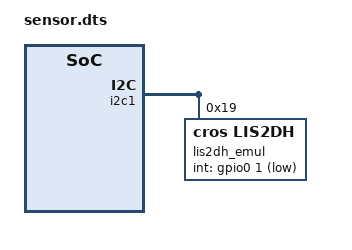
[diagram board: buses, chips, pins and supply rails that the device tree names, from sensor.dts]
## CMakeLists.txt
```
# Copyright 2026 The ChromiumOS Authors
# Use of this source code is governed by a BSD-style license that can be
# found in the LICENSE file.

# Add source files
target_sources(app PRIVATE src/test_common.c src/test_interrupt.c)
```

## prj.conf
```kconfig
# Copyright 2026 The ChromiumOS Authors
# Use of this source code is governed by a BSD-style license that can be
# found in the LICENSE file.

CONFIG_PLATFORM_EC_ACCEL_LIS2DE=y

CONFIG_LOG=y
CONFIG_LOG_MODE_MINIMAL=n
CONFIG_POSIX_ARCH_CONSOLE_INIT_PRIORITY=98
CONFIG_PLATFORM_EC_CONSOLE_INIT_PRIORITY=99
CONFIG_PLATFORM_EC_CONSOLE_DEBUG=y
CONFIG_SENSOR_LOG_LEVEL_DBG=y
```

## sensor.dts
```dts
/* Copyright 2026 The ChromiumOS Authors
 * Use of this source code is governed by a BSD-style license that can be
 * found in the LICENSE file.
 */

#include "dt-bindings/gpio_defines.h"
#include <dt-bindings/motionsense/utils.h>

/ {
	aliases {
		lis2dh-int = &ms_lis2dh_accel;
		/delete-property/ bmi160-int;
		/delete-property/ bmi260-int;
		/delete-property/ tcs3400-int;
	};

	motionsense-mutex {
		mutex_lis2dh: lis2dh-mutex {
		};
	};

	motionsense-sensor-data {
		lis2dh_data_accel: lis2dh-accel-drv-data {
			compatible = "cros-ec,drvdata-lis2de";
			status = "okay";
		};
	};

	motionsense-sensor {

		lid_accel: ms-bma4xx {};

		base_accel: ms_lis2dh_accel: ms-lis2dh-accel {
			compatible = "cros-ec,lis2de";
			status = "okay";

			active-mask = "SENSOR_ACTIVE_S0";
			location = "MOTIONSENSE_LOC_BASE";
			mutex = <&mutex_lis2dh>;
			port = <&named_i2c1>;
			drv-data = <&lis2dh_data_accel>;
			configs {
				compatible =
					"cros-ec,motionsense-sensor-config";
				ec-s0 {
					odr = <(10000 | ROUND_UP_FLAG)>;
				};
			};
		};
	};

	motionsense-sensor-info {
		accel-force-mode-sensors = <&ms_bma4xx>;
		sensor-irqs = <&base_imu>;
	};

	gpio-interrupts {
		compatible = "cros-ec,gpio-interrupts";

		base_imu: base-imu {
			irq-pin = <&gpio_base_accel_int_l>;
			flags = <GPIO_INT_EDGE_FALLING>;
			handler = "lis2dh_interrupt";
		};
	};
	named-gpios {
		compatible = "named-gpios";
		gpio_base_accel_int_l: accel_base_int_l {
			gpios = <&gpio0 1 (GPIO_INPUT | GPIO_ACTIVE_LOW)>;
		};
	};
};

&i2c1 {
	lis2dh_emul: lis2dh@19 {
		compatible = "cros,lis2dh";
		status = "okay";
		reg = <0x19>;
		int-gpios = <&gpio0 1 GPIO_ACTIVE_LOW>;
	};
};

/delete-node/ &ms_bma255;
/delete-node/ &ms_bmi260_accel;
/delete-node/ &ms_bmi260_gyro;
/delete-node/ &ms_bmi160_accel;
/delete-node/ &ms_bmi160_gyro;
/delete-node/ &tcs3400_clear;
/delete-node/ &tcs3400_rgb;
/delete-node/ &accel_bmi160;
/delete-node/ &bma422_emul;
/delete-node/ &mspi0;
```

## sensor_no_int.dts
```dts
/* Copyright 2026 The ChromiumOS Authors
 * Use of this source code is governed by a BSD-style license that can be
 * found in the LICENSE file.
 */

#include "dt-bindings/gpio_defines.h"
#include <dt-bindings/motionsense/utils.h>

/ {
	aliases {
		/delete-property/ bmi160-int;
		/delete-property/ bmi260-int;
		/delete-property/ tcs3400-int;
	};

	motionsense-mutex {
		mutex_lis2dh: lis2dh-mutex {
		};
	};

	motionsense-sensor-data {
		lis2dh_data_accel: lis2dh-accel-drv-data {
			compatible = "cros-ec,drvdata-lis2de";
			status = "okay";
		};
	};

	motionsense-sensor {

		lid_accel: ms-bma4xx {};

		base_accel: ms_lis2dh_accel: ms-lis2dh-accel {
			compatible = "cros-ec,lis2de";
			status = "okay";

			active-mask = "SENSOR_ACTIVE_S0";
			location = "MOTIONSENSE_LOC_BASE";
			mutex = <&mutex_lis2dh>;
			port = <&named_i2c1>;
			drv-data = <&lis2dh_data_accel>;
			configs {
				compatible =
					"cros-ec,motionsense-sensor-config";
				ec-s0 {
					odr = <(10000 | ROUND_UP_FLAG)>;
				};
			};
		};
	};

	motionsense-sensor-info {
		accel-force-mode-sensors = <&ms_bma4xx>;
	};
	named-gpios {
		compatible = "named-gpios";
		gpio_base_accel_int_l: accel_base_int_l {
			gpios = <&gpio0 1 (GPIO_INPUT | GPIO_ACTIVE_LOW)>;
		};
	};
};

&i2c1 {
	lis2dh_emul: lis2dh@19 {
		compatible = "cros,lis2dh";
		status = "okay";
		reg = <0x19>;
		int-gpios = <&gpio0 1 GPIO_ACTIVE_LOW>;
	};
};

/delete-node/ &ms_bma255;
/delete-node/ &ms_bmi260_accel;
/delete-node/ &ms_bmi260_gyro;
/delete-node/ &ms_bmi160_accel;
/delete-node/ &ms_bmi160_gyro;
/delete-node/ &tcs3400_clear;
/delete-node/ &tcs3400_rgb;
/delete-node/ &accel_bmi160;
/delete-node/ &bma422_emul;
/delete-node/ &mspi0;
```

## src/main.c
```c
/* Copyright 2026 The ChromiumOS Authors
 * Use of this source code is governed by a BSD-style license that can be
 * found in the LICENSE file.
 */

#include "driver/accel_lis2dh.h"
#include "emul/emul_common_i2c.h"
#include "emul/emul_lis2dh.h"
#include "motion_sense.h"
#include "motion_sense_fifo.h"
#include "test/drivers/test_state.h"

#include <zephyr/drivers/gpio.h>
#include <zephyr/ztest.h>

#define LIS2DH_NODE DT_NODELABEL(lis2dh_emul)
#define ACC_SENSOR_ID SENSOR_ID(DT_NODELABEL(ms_lis2dh_accel))

static const struct emul *emul = EMUL_DT_GET(LIS2DH_NODE);
static struct motion_sensor_t *acc = &motion_sensors[ACC_SENSOR_ID];

static void lis2dh_before(void *state)
{
	ARG_UNUSED(state);
	lis2dh_emul_reset(emul);
}

ZTEST_USER(lis2dh, test_lis2dh__samples_fifo_read)
{
	struct stprivate_data *drvdata = acc->drv_data;
	int16_t fake_sample[] = { 10, 20, 30, 40, 50, 60 };
	uint32_t evt = ACCEL_LIS2DH_INT_EVENT;
	static struct ec_response_motion_sensor_data
		fifo_data[ARRAY_SIZE(fake_sample) / 3 * 2];
	int count;
	uint16_t read_byte_count;
	int i;

	/* Basic initialization works. */
	zassert_ok(lis2dh_drv.init(acc));

	/* Clear out the soft motionsense FIFO */
	motion_sense_fifo_reset();

	/* Set data rate to 10Hz, without this the FIFO will never be enabled */
	acc->config[SENSOR_CONFIG_AP].odr = 10000;
	acc->drv->set_data_rate(acc, 10000, 1);
	acc->oversampling_ratio = 1;

	/* Verify fifo mode is enabled */
	zassert_true(lis2dh_emul_is_fifo_enabled(emul));

	/* Reading requires a range to be set. Use 1 so it has no effect
	 * when scaling samples. Also need to set the sensor resolution
	 * manually.
	 */
	lis2dh_drv.set_range(acc, 1, 0);
	drvdata->resol = LIS2DH_RESOLUTION;

	/*
	 * Samples from the lis2dh are left aligned so shift left by requiired
	 * amount.
	 */
	for (i = 0; i < ARRAY_SIZE(fake_sample); i++) {
		fake_sample[i] <<= (15 - LIS2DH_RESOLUTION);
	}
	/* Add data to the lis2dh emulated fifo */
	lis2dh_emul_set_fifo_data(emul, fake_sample, sizeof(fake_sample));

	/* Run interrupt handler */
	zassert_ok(lis2dh_drv.irq_handler(acc, &evt));

	/* Read data has been queue up in the motion_sense fifo */
	count = motion_sense_fifo_read(sizeof(fifo_data),
				       ARRAY_SIZE(fake_sample) / 3 * 2,
				       fifo_data, &read_byte_count);

	/*
	 * Each accel sample is paired with a timestamp entry so there should be
	 * 2 entries for each 3 samples in the fake_sample array.
	 */
	zassert_equal(count, ARRAY_SIZE(fake_sample) / 3 * 2);

	/*
	 * Validate each set of sensor XYZ samples.
	 * fifo_data[0] -> timestamp, fifo_data[1] -> sensor XYZ sample
	 * fifo_data[2] -> timestamp, fifo_data[3] -> sensor XYZ sample
	 */
	for (i = 0; i < ARRAY_SIZE(fake_sample) / 3; i++) {
		zassert_equal(fifo_data[i * 2].flags,
			      MOTIONSENSE_SENSOR_FLAG_TIMESTAMP);
		zassert_equal(fifo_data[i * 2].sensor_num, ACC_SENSOR_ID);
		zassert_equal(fifo_data[i * 2 + 1].data[X], fake_sample[i * 3]);
		zassert_equal(fifo_data[i * 2 + 1].data[Y],
			      fake_sample[i * 3 + 1]);
		zassert_equal(fifo_data[i * 2 + 1].data[Z],
			      fake_sample[i * 3 + 2]);
	}
}

ZTEST_USER(lis2dh, test_lis2dh__samples_fifo_read_long)
{
	struct stprivate_data *drvdata = acc->drv_data;
	int16_t fake_sample[(FIFO_READ_LEN / OUT_XYZ_SIZE) * 3 + 6];
	uint32_t evt = ACCEL_LIS2DH_INT_EVENT;
	static struct ec_response_motion_sensor_data
		fifo_data[ARRAY_SIZE(fake_sample) / 3 * 2];
	int count;
	uint16_t read_byte_count;
	int i;

	/* Basic initialization works. */
	zassert_ok(lis2dh_drv.init(acc));

	/* Clear out the soft motionsense FIFO */
	motion_sense_fifo_reset();

	/* Set data rate to 10Hz, without this the FIFO will never be enabled */
	acc->config[SENSOR_CONFIG_AP].odr = 10000;
	acc->drv->set_data_rate(acc, 10000, 1);
	acc->oversampling_ratio = 1;

	/* Verify fifo mode is enabled */
	zassert_true(lis2dh_emul_is_fifo_enabled(emul));

	/* Reading requires a range to be set. Use 1 so it has no effect
	 * when scaling samples. Also need to set the sensor resolution
	 * manually.
	 */
	lis2dh_drv.set_range(acc, 1, 0);
	drvdata->resol = LIS2DH_RESOLUTION;

	/*
	 * Create samples of 2, 4, 6, ... 8, 10, 12, ... 14, 16, 18 for 10 XYZ
	 * sample triplets. This will exceed FIFO_READ_LEN;
	 */
	for (i = 0; i < ARRAY_SIZE(fake_sample); i++) {
		fake_sample[i] = ((i + 1) * 2) << (15 - LIS2DH_RESOLUTION);
	}

	/* Add data to the lis2dh emulated fifo */
	lis2dh_emul_set_fifo_data(emul, fake_sample,
				  (uint8_t)(sizeof(fake_sample)));

	/* Run interrupt handler */
	zassert_ok(lis2dh_drv.irq_handler(acc, &evt));

	/* Read data has been queue up in the motion_sense fifo */
	count = motion_sense_fifo_read(sizeof(fifo_data),
				       ARRAY_SIZE(fake_sample) / 3 * 2,
				       fifo_data, &read_byte_count);

	/*
	 * Each accel sample is paired with a timestamp entry so there should be
	 * 2 entries for each 3 samples in the fake_sample array.
	 */
	zassert_equal(count, ARRAY_SIZE(fake_sample) / 3 * 2);

	/*
	 * Validate each set of sensor XYZ samples.
	 * fifo_data[0] -> timestamp, fifo_data[1] -> sensor XYZ sample
	 * fifo_data[2] -> timestamp, fifo_data[3] -> sensor XYZ sample
	 */
	for (i = 0; i < ARRAY_SIZE(fake_sample) / 3; i++) {
		zassert_equal(fifo_data[i * 2].flags,
			      MOTIONSENSE_SENSOR_FLAG_TIMESTAMP);
		zassert_equal(fifo_data[i * 2].sensor_num, ACC_SENSOR_ID);
		zassert_equal(fifo_data[i * 2 + 1].data[X], fake_sample[i * 3]);
		zassert_equal(fifo_data[i * 2 + 1].data[Y],
			      fake_sample[i * 3 + 1]);
		zassert_equal(fifo_data[i * 2 + 1].data[Z],
			      fake_sample[i * 3 + 2]);
	}
}

ZTEST_USER(lis2dh, test_lis2dh__samples_fifo_read_fail)
{
	struct stprivate_data *drvdata = acc->drv_data;
	int16_t fake_sample[] = { 10, 20, 30, 40, 50, 60 };
	uint32_t evt = ACCEL_LIS2DH_INT_EVENT;
	struct i2c_common_emul_data *common_data =
		emul_lis2dh_get_i2c_common_data(emul);
	int i;
	int rv;

	/* Basic initialization works. */
	zassert_ok(lis2dh_drv.init(acc));

	/* Clear out the soft motionsense FIFO */
	motion_sense_fifo_reset();

	/* Set data rate to 10Hz, without this the FIFO will never be enabled */
	acc->config[SENSOR_CONFIG_AP].odr = 10000;
	acc->drv->set_data_rate(acc, 10000, 1);
	acc->oversampling_ratio = 1;

	/* Verify fifo mode is enabled */
	zassert_true(lis2dh_emul_is_fifo_enabled(emul));

	/* Reading requires a range to be set. Use 1 so it has no effect
	 * when scaling samples. Also need to set the sensor resolution
	 * manually.
	 */
	lis2dh_drv.set_range(acc, 1, 0);
	drvdata->resol = LIS2DH_RESOLUTION;

	/*
	 * Samples from the lis2dh are left aligned so shift left by requiired
	 * amount.
	 */
	for (i = 0; i < ARRAY_SIZE(fake_sample); i++) {
		fake_sample[i] <<= (15 - LIS2DH_RESOLUTION);
	}
	/* Add data to the lis2dh emulated fifo */
	lis2dh_emul_set_fifo_data(emul, fake_sample, sizeof(fake_sample));

	/* Set incorrect interrupt event */
	evt = 0;
	/* Run interrupt handler */
	rv = lis2dh_drv.irq_handler(acc, &evt);
	zassert_equal(rv, EC_ERROR_NOT_HANDLED);

	/* Set FIFO_SRC_REG read to fail */
	i2c_common_emul_set_read_fail_reg(common_data, LIS2DH_FIFO_SRC_ADDR);
	evt = ACCEL_LIS2DH_INT_EVENT;
	rv = lis2dh_drv.irq_handler(acc, &evt);
	zassert_equal(EC_ERROR_INVAL, rv);
	i2c_common_emul_set_read_fail_reg(common_data,
					  I2C_COMMON_EMUL_NO_FAIL_REG);

	/* Set LIS2DH_OUT_X_L_ADDR read to fail */
	i2c_common_emul_set_read_fail_reg(common_data,
					  0x80 | LIS2DH_OUT_X_L_ADDR);
	rv = lis2dh_drv.irq_handler(acc, &evt);
	zassert_equal(EC_ERROR_INVAL, rv);
}

ZTEST_USER(lis2dh, test_lis2dh__samples_fifo_read_spoof)
{
	struct stprivate_data *drvdata = acc->drv_data;
	int16_t fake_sample[] = { 10, 20, 30 };
	uint32_t evt = ACCEL_LIS2DH_INT_EVENT;
	static struct ec_response_motion_sensor_data
		fifo_data[ARRAY_SIZE(fake_sample) / 3 * 2];
	int count;
	uint16_t read_byte_count;
	int i;

	/* Basic initialization works. */
	zassert_ok(lis2dh_drv.init(acc));

	/* Clear out the soft motionsense FIFO */
	motion_sense_fifo_reset();

	/* Set data rate to 10Hz, without this the FIFO will never be enabled */
	acc->config[SENSOR_CONFIG_AP].odr = 10000;
	acc->drv->set_data_rate(acc, 10000, 1);
	acc->oversampling_ratio = 1;

	/* Verify fifo mode is enabled */
	zassert_true(lis2dh_emul_is_fifo_enabled(emul));

	/* Reading requires a range to be set. Use 1 so it has no effect
	 * when scaling samples. Also need to set the sensor resolution
	 * manually.
	 */
	lis2dh_drv.set_range(acc, 1, 0);
	drvdata->resol = LIS2DH_RESOLUTION;

	/* Enable spoof fifo spoof mode */
	acc->flags |= MOTIONSENSE_FLAG_IN_SPOOF_MODE;

	/* Set values to be spoofed */
	acc->spoof_xyz[X] = 50 << (15 - LIS2DH_RESOLUTION);
	acc->spoof_xyz[Y] = 60 << (15 - LIS2DH_RESOLUTION);
	acc->spoof_xyz[Z] = 70 << (15 - LIS2DH_RESOLUTION);

	/*
	 * Samples from the lis2dh are left aligned so shift left by requiired
	 * amount.
	 */
	for (i = 0; i < ARRAY_SIZE(fake_sample); i++) {
		fake_sample[i] <<= (15 - LIS2DH_RESOLUTION);
	}
	/* Add data to the lis2dh emulated fifo */
	lis2dh_emul_set_fifo_data(emul, fake_sample, sizeof(fake_sample));

	/* Run interrupt handler */
	zassert_ok(lis2dh_drv.irq_handler(acc, &evt));

	/* Clear fifo spoof mode flag */
	acc->flags &= ~MOTIONSENSE_FLAG_IN_SPOOF_MODE;

	/* Read data has been queue up in the motion_sense fifo */
	count = motion_sense_fifo_read(sizeof(fifo_data),
				       ARRAY_SIZE(fake_sample) / 3 * 2,
				       fifo_data, &read_byte_count);

	/*
	 * Each accel sample is paired with a timestamp entry so there should be
	 * 2 entries for each 3 samples in the fake_sample array.
	 */
	zassert_equal(count, ARRAY_SIZE(fake_sample) / 3 * 2);

	/* Data from fifo should match spoof values */
	zassert_equal(fifo_data[1].data[X], acc->spoof_xyz[X]);
	zassert_equal(fifo_data[1].data[Y], acc->spoof_xyz[Y]);
	zassert_equal(fifo_data[1].data[Z], acc->spoof_xyz[Z]);
}

ZTEST_USER(lis2dh, test_lis2dh__trigger_interrupt)
{
	struct stprivate_data *drvdata = acc->drv_data;
	int16_t fake_sample[] = { 10, 20, 30, 40, 50, 60 };
	int i;

	/* Basic initialization works. */
	zassert_ok(lis2dh_drv.init(acc));

	/* Clear out the soft motionsense FIFO */
	motion_sense_fifo_reset();

	/* Set data rate to 10Hz, without this the FIFO will never be enabled */
	acc->config[SENSOR_CONFIG_AP].odr = 10000;
	acc->drv->set_data_rate(acc, 10000, 1);
	acc->oversampling_ratio = 1;

	/* Verify fifo mode is enabled */
	zassert_true(lis2dh_emul_is_fifo_enabled(emul));

	/* Reading requires a range to be set. Use 1 so it has no effect
	 * when scaling samples. Also need to set the sensor resolution
	 * manually.
	 */
	lis2dh_drv.set_range(acc, 1, 0);
	drvdata->resol = LIS2DH_RESOLUTION;

	/* Interrupt should be inactive */
	zassert_equal(lis2dh_emul_get_interrupt_pin(emul), 0);

	/*
	 * Samples from the lis2dh are left aligned so shift left by requiired
	 * amount.
	 */
	for (i = 0; i < ARRAY_SIZE(fake_sample); i++) {
		fake_sample[i] <<= (15 - LIS2DH_RESOLUTION);
	}
	/* Add data to the lis2dh emulated fifo */
	lis2dh_emul_set_fifo_data(emul, fake_sample, sizeof(fake_sample));

	/* lis2dh fifo data should exceed watermark */
	zassert_equal(lis2dh_emul_get_interrupt_pin(emul), 1);
}

ZTEST_USER(lis2dh, test_init)
{
	zassert_ok(lis2dh_drv.init(acc));
}

ZTEST(lis2dh, test_lis2dh_init__fail_read_who_am_i)
{
	struct i2c_common_emul_data *common_data =
		emul_lis2dh_get_i2c_common_data(emul);
	int rv;

	i2c_common_emul_set_read_fail_reg(common_data, LIS2DH_WHO_AM_I_REG);
	rv = lis2dh_drv.init(acc);
	zassert_equal(EC_ERROR_INVAL, rv);
}

ZTEST(lis2dh, test_lis2dh_init__fail_interrupt_config)
{
	struct i2c_common_emul_data *common_data =
		emul_lis2dh_get_i2c_common_data(emul);
	int rv;

	i2c_common_emul_set_write_fail_reg(common_data, LIS2DH_FIFO_CTRL_ADDR);
	rv = lis2dh_drv.init(acc);
	zassert_equal(EC_ERROR_INVAL, rv);
}

ZTEST(lis2dh, test_lis2dh_init__fail_who_am_i)
{
	int rv;

	lis2dh_emul_set_who_am_i(emul, ~LIS2DH_WHO_AM_I);

	rv = lis2dh_drv.init(acc);
	zassert_equal(EC_ERROR_ACCESS_DENIED, rv,
		      "init returned %d but was expecting %d", rv,
		      EC_ERROR_ACCESS_DENIED);
}

ZTEST(lis2dh, test_lis2dh__set_range)
{
	struct i2c_common_emul_data *common_data =
		emul_lis2dh_get_i2c_common_data(emul);
	int rv;

	zassert_ok(lis2dh_drv.init(acc));
	zassert_ok(lis2dh_drv.set_range(acc, 4, 0));
	printk("set_range: normalized range = %d\n", acc->current_range);
	zassert_equal(acc->current_range, 4);

	/* Configure LIS2DH_FIFO_CTRL_ADDR write to fail */
	i2c_common_emul_set_write_fail_reg(common_data, LIS2DH_FIFO_CTRL_ADDR);
	rv = lis2dh_drv.set_range(acc, 2, 0);
	zassert_equal(rv, EC_ERROR_INVAL);
	zassert_equal(acc->current_range, 4);

	/* Configure LIS2DH_CTRL4_ADDR write to fail */
	i2c_common_emul_set_write_fail_reg(common_data,
					   I2C_COMMON_EMUL_NO_FAIL_REG);
	i2c_common_emul_set_write_fail_reg(common_data, LIS2DH_CTRL4_ADDR);
	rv = lis2dh_drv.set_range(acc, 2, 0);
	zassert_equal(rv, EC_ERROR_INVAL);
	zassert_equal(acc->current_range, 4);

	i2c_common_emul_set_write_fail_reg(common_data,
					   I2C_COMMON_EMUL_NO_FAIL_REG);
	zassert_ok(lis2dh_drv.set_range(acc, 2, 0));
	zassert_equal(acc->current_range, 2);
}

ZTEST_SUITE(lis2dh, drivers_predicate_post_main, NULL, lis2dh_before, NULL,
	    NULL);
```

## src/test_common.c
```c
/* Copyright 2026 The ChromiumOS Authors
 * Use of this source code is governed by a BSD-style license that can be
 * found in the LICENSE file.
 */

#include "driver/accel_lis2dh.h"
#include "emul/emul_common_i2c.h"
#include "emul/emul_lis2dh.h"
#include "motion_sense.h"
#include "motion_sense_fifo.h"
#include "test/drivers/test_state.h"

#include <limits.h>

#include <zephyr/drivers/gpio.h>
#include <zephyr/ztest.h>

#define LIS2DH_NODE DT_NODELABEL(lis2dh_emul)
#define ACC_SENSOR_ID SENSOR_ID(DT_NODELABEL(ms_lis2dh_accel))

static const struct emul *emul = EMUL_DT_GET(LIS2DH_NODE);
static struct motion_sensor_t *acc = &motion_sensors[ACC_SENSOR_ID];

static void lis2dh_before(void *state)
{
	ARG_UNUSED(state);
	lis2dh_emul_reset(emul);
	acc->collection_rate = 0;
	acc->flags &= ~MOTIONSENSE_FLAG_IN_SPOOF_MODE;
}

ZTEST_USER(lis2dh, test_init)
{
	struct stprivate_data *drvdata = acc->drv_data;

	zassert_ok(lis2dh_drv.init(acc));
	zassert_equal(drvdata->resol, 12,
		      "expected 12-bit resolution for LIS2DH");
}

static int emul_read_ctrl4_lis2de(const struct emul *target, int reg,
				  uint8_t *val, int bytes, void *data)
{
	ARG_UNUSED(target);
	ARG_UNUSED(bytes);
	ARG_UNUSED(data);

	if (reg == LIS2DH_CTRL4_ADDR) {
		*val = LIS2DH_BDU_MASK; /* HR bit (0x08) not supported */
		return 0;
	}
	return 1;
}

ZTEST(lis2dh, test_init_lis2de_8bit)
{
	struct i2c_common_emul_data *common_data =
		emul_lis2dh_get_i2c_common_data(emul);
	struct stprivate_data *drvdata = acc->drv_data;

	i2c_common_emul_set_read_func(common_data, emul_read_ctrl4_lis2de,
				      NULL);
	zassert_ok(lis2dh_drv.init(acc));
	zassert_equal(drvdata->resol, 8,
		      "expected 8-bit resolution for LIS2DE");
}

ZTEST(lis2dh, test_lis2dh_init__fail_read_who_am_i)
{
	struct i2c_common_emul_data *common_data =
		emul_lis2dh_get_i2c_common_data(emul);
	int rv;

	i2c_common_emul_set_read_fail_reg(common_data, LIS2DH_WHO_AM_I_REG);
	rv = lis2dh_drv.init(acc);
	zassert_equal(EC_ERROR_INVAL, rv);
}

ZTEST(lis2dh, test_lis2dh_init__fail_who_am_i)
{
	int rv;

	lis2dh_emul_set_who_am_i(emul, ~LIS2DH_WHO_AM_I);

	rv = lis2dh_drv.init(acc);
	zassert_equal(EC_ERROR_ACCESS_DENIED, rv,
		      "init returned %d but was expecting %d", rv,
		      EC_ERROR_ACCESS_DENIED);
}

ZTEST(lis2dh, test_lis2dh__set_range)
{
	struct i2c_common_emul_data *common_data =
		emul_lis2dh_get_i2c_common_data(emul);
	int rv;

	zassert_ok(lis2dh_drv.init(acc));
	zassert_ok(lis2dh_drv.set_range(acc, 4, 0));
	printk("set_range: normalized range = %d\n", acc->current_range);
	zassert_equal(acc->current_range, 4);

	/* Configure LIS2DH_CTRL4_ADDR write to fail */
	i2c_common_emul_set_write_fail_reg(common_data,
					   I2C_COMMON_EMUL_NO_FAIL_REG);
	i2c_common_emul_set_write_fail_reg(common_data, LIS2DH_CTRL4_ADDR);
	rv = lis2dh_drv.set_range(acc, 2, 0);
	zassert_equal(rv, EC_ERROR_INVAL);
	zassert_equal(acc->current_range, 4);

	i2c_common_emul_set_write_fail_reg(common_data,
					   I2C_COMMON_EMUL_NO_FAIL_REG);
	zassert_ok(lis2dh_drv.set_range(acc, 2, 0));
	zassert_equal(acc->current_range, 2);
}

ZTEST_USER(lis2dh, test_lis2dh__set_data_rate)
{
	struct stprivate_data *drvdata = acc->drv_data;
	const struct {
		int rate;
		int rnd;
	} invalid[] = {
		{ -1, 0 },
		{ -1, 1 },
		{ LIS2DH_ODR_MAX_VAL + 1, 0 },
		{ LIS2DH_ODR_MAX_VAL + 1, 1 },
		{ INT_MAX, 0 },
		{ INT_MAX, 1 },
		/* Below the minimum rate cannot be rounded down. */
		{ 1, 0 },
		{ LIS2DH_ODR_MIN_VAL - 1, 0 },
	};

	zassert_ok(lis2dh_drv.init(acc));

	/* Set data rate to 10Hz */
	zassert_ok(acc->drv->set_data_rate(acc, 10000, 1));
	zassert_equal(drvdata->base.odr, 10000);

	/*
	 * Invalid rates must fail before touching the sensor: the mutex stays
	 * unlocked, the ODR is unchanged, and the FIFO keeps running.
	 */
	for (int i = 0; i < ARRAY_SIZE(invalid); i++) {
		zassert_equal(acc->drv->set_data_rate(acc, invalid[i].rate,
						      invalid[i].rnd),
			      EC_RES_INVALID_PARAM, "rate %d", invalid[i].rate);
		zassert_equal(acc->mutex->lock_count, 0);
		zassert_equal(drvdata->base.odr, 10000);
		if (IS_ENABLED(ACCEL_LIS2DH_INT_ENABLE)) {
			zassert_true(lis2dh_emul_is_fifo_enabled(emul));
		}
	}

	/* The ends of the supported range are accepted */
	zassert_ok(acc->drv->set_data_rate(acc, LIS2DH_ODR_MAX_VAL, 0));
	zassert_equal(drvdata->base.odr, LIS2DH_ODR_MAX_VAL);
	zassert_ok(acc->drv->set_data_rate(acc, LIS2DH_ODR_MIN_VAL, 0));
	zassert_equal(drvdata->base.odr, LIS2DH_ODR_MIN_VAL);
	zassert_ok(acc->drv->set_data_rate(acc, LIS2DH_ODR_MIN_VAL - 1, 1));
	zassert_equal(drvdata->base.odr, LIS2DH_ODR_MIN_VAL);

	/* 15Hz rounds up to 25Hz, or down to 10Hz */
	zassert_ok(acc->drv->set_data_rate(acc, 15000, 1));
	zassert_equal(drvdata->base.odr, 25000);
	zassert_ok(acc->drv->set_data_rate(acc, 15000, 0));
	zassert_equal(drvdata->base.odr, 10000);

	/* Set data rate to 0 (Power Off), which leaves the FIFO stopped */
	if (IS_ENABLED(ACCEL_LIS2DH_INT_ENABLE)) {
		zassert_true(lis2dh_emul_is_fifo_enabled(emul));
	}
	zassert_ok(acc->drv->set_data_rate(acc, 0, 0));
	zassert_equal(drvdata->base.odr, 0);
	if (IS_ENABLED(ACCEL_LIS2DH_INT_ENABLE)) {
		zassert_false(lis2dh_emul_is_fifo_enabled(emul));
	}
}

ZTEST_SUITE(lis2dh, drivers_predicate_post_main, NULL, lis2dh_before, NULL,
	    NULL);
```

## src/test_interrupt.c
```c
/* Copyright 2026 The ChromiumOS Authors
 * Use of this source code is governed by a BSD-style license that can be
 * found in the LICENSE file.
 */

#include "driver/accel_lis2dh.h"

#ifdef ACCEL_LIS2DH_INT_ENABLE

#include "emul/emul_common_i2c.h"
#include "emul/emul_lis2dh.h"
#include "motion_sense.h"
#include "motion_sense_fifo.h"
#include "test/drivers/test_state.h"

#include <zephyr/drivers/gpio.h>
#include <zephyr/ztest.h>

#define LIS2DH_NODE DT_NODELABEL(lis2dh_emul)
#define ACC_SENSOR_ID SENSOR_ID(DT_NODELABEL(ms_lis2dh_accel))

static const struct emul *emul = EMUL_DT_GET(LIS2DH_NODE);
static struct motion_sensor_t *acc = &motion_sensors[ACC_SENSOR_ID];

static int count_fifo_src_reads(const struct emul *target, int reg,
				uint8_t *val, int bytes, void *data)
{
	int *reads = data;

	ARG_UNUSED(target);
	ARG_UNUSED(val);
	ARG_UNUSED(bytes);

	if (reg == LIS2DH_FIFO_SRC_ADDR) {
		(*reads)++;
	}
	return 1;
}

ZTEST_USER(lis2dh, test_lis2dh__samples_fifo_read)
{
	struct stprivate_data *drvdata = acc->drv_data;
	int16_t fake_sample[] = { 10, 20, 30, 40, 50, 60 };
	uint32_t evt = ACCEL_LIS2DH_INT_EVENT;
	static struct ec_response_motion_sensor_data
		fifo_data[ARRAY_SIZE(fake_sample) / 3 * 2];
	int count;
	uint16_t read_byte_count;
	int i;

	/* Basic initialization works. */
	zassert_ok(lis2dh_drv.init(acc));

	/* Clear out the soft motionsense FIFO */
	motion_sense_fifo_reset();

	/* Set data rate to 10Hz, without this the FIFO will never be enabled */
	acc->config[SENSOR_CONFIG_AP].odr = 10000;
	acc->drv->set_data_rate(acc, 10000, 1);
	acc->oversampling_ratio = 1;

	/* Verify fifo mode is enabled */
	zassert_true(lis2dh_emul_is_fifo_enabled(emul));

	/* Reading requires a range to be set. Use 1 so it has no effect
	 * when scaling samples. Also need to set the sensor resolution
	 * manually.
	 */
	lis2dh_drv.set_range(acc, 1, 0);
	drvdata->resol = LIS2DH_RESOLUTION;

	/*
	 * Samples from the lis2dh are left aligned so shift left by requiired
	 * amount.
	 */
	for (i = 0; i < ARRAY_SIZE(fake_sample); i++) {
		fake_sample[i] <<= (15 - LIS2DH_RESOLUTION);
	}
	/* Add data to the lis2dh emulated fifo */
	lis2dh_emul_set_fifo_data(emul, fake_sample, sizeof(fake_sample));

	/* Run interrupt handler */
	zassert_ok(lis2dh_drv.irq_handler(acc, &evt));

	/* Read data has been queue up in the motion_sense fifo */
	count = motion_sense_fifo_read(sizeof(fifo_data),
				       ARRAY_SIZE(fake_sample) / 3 * 2,
				       fifo_data, &read_byte_count);

	/*
	 * Each accel sample is paired with a timestamp entry so there should be
	 * 2 entries for each 3 samples in the fake_sample array.
	 */
	zassert_equal(count, ARRAY_SIZE(fake_sample) / 3 * 2);

	/*
	 * Validate each set of sensor XYZ samples.
	 * fifo_data[0] -> timestamp, fifo_data[1] -> sensor XYZ sample
	 * fifo_data[2] -> timestamp, fifo_data[3] -> sensor XYZ sample
	 */
	for (i = 0; i < ARRAY_SIZE(fake_sample) / 3; i++) {
		zassert_equal(fifo_data[i * 2].flags,
			      MOTIONSENSE_SENSOR_FLAG_TIMESTAMP);
		zassert_equal(fifo_data[i * 2].sensor_num, ACC_SENSOR_ID);
		zassert_equal(fifo_data[i * 2 + 1].data[X], fake_sample[i * 3]);
		zassert_equal(fifo_data[i * 2 + 1].data[Y],
			      fake_sample[i * 3 + 1]);
		zassert_equal(fifo_data[i * 2 + 1].data[Z],
			      fake_sample[i * 3 + 2]);
	}
}

ZTEST_USER(lis2dh, test_lis2dh__samples_fifo_read_long)
{
	struct stprivate_data *drvdata = acc->drv_data;
	int16_t fake_sample[(FIFO_READ_LEN / OUT_XYZ_SIZE) * 3 + 6];
	const int num_samples = ARRAY_SIZE(fake_sample) / 3;
	uint32_t evt = ACCEL_LIS2DH_INT_EVENT;
	static struct ec_response_motion_sensor_data
		fifo_data[ARRAY_SIZE(fake_sample) / 3 * 2];
	int fifo_src_reads = 0;
	int count;
	uint16_t read_byte_count;
	int i;

	/* Basic initialization works. */
	zassert_ok(lis2dh_drv.init(acc));

	/* Clear out the soft motionsense FIFO */
	motion_sense_fifo_reset();

	/* Set data rate to 10Hz, without this the FIFO will never be enabled */
	acc->config[SENSOR_CONFIG_AP].odr = 10000;
	acc->drv->set_data_rate(acc, 10000, 1);
	acc->oversampling_ratio = 1;
	/* Space the samples so each one gets a distinct timestamp. */
	acc->collection_rate = 100 * USEC_PER_MSEC;

	/* Verify fifo mode is enabled */
	zassert_true(lis2dh_emul_is_fifo_enabled(emul));

	/* Reading requires a range to be set. Use 1 so it has no effect
	 * when scaling samples. Also need to set the sensor resolution
	 * manually.
	 */
	lis2dh_drv.set_range(acc, 1, 0);
	drvdata->resol = LIS2DH_RESOLUTION;

	/*
	 * Create samples of 2, 4, 6, ... 8, 10, 12, ... 14, 16, 18 for 10 XYZ
	 * sample triplets. This will exceed FIFO_READ_LEN;
	 */
	for (i = 0; i < ARRAY_SIZE(fake_sample); i++) {
		fake_sample[i] = ((i + 1) * 2) << (15 - LIS2DH_RESOLUTION);
	}

	/* Add data to the lis2dh emulated fifo */
	lis2dh_emul_set_fifo_data(emul, fake_sample,
				  (uint8_t)(sizeof(fake_sample)));

	i2c_common_emul_set_read_func(emul_lis2dh_get_i2c_common_data(emul),
				      count_fifo_src_reads, &fifo_src_reads);

	/* Run interrupt handler */
	zassert_ok(lis2dh_drv.irq_handler(acc, &evt));

	/*
	 * One read finds the queued samples and one read finds the FIFO
	 * empty, so a single lis2dh_load_fifo() call drained both chunks.
	 */
	zassert_equal(fifo_src_reads, 2);

	/* Read data has been queue up in the motion_sense fifo */
	count = motion_sense_fifo_read(sizeof(fifo_data),
				       ARRAY_SIZE(fake_sample) / 3 * 2,
				       fifo_data, &read_byte_count);

	/*
	 * Each accel sample is paired with a timestamp entry so there should be
	 * 2 entries for each 3 samples in the fake_sample array.
	 */
	zassert_equal(count, ARRAY_SIZE(fake_sample) / 3 * 2);

	/*
	 * Validate each set of sensor XYZ samples.
	 * Verify that all samples across both FIFO chunks are read.
	 */
	for (i = 0; i < num_samples; i++) {
		zassert_equal(fifo_data[i * 2].flags,
			      MOTIONSENSE_SENSOR_FLAG_TIMESTAMP);
		zassert_equal(fifo_data[i * 2].sensor_num, ACC_SENSOR_ID);
		zassert_equal(fifo_data[i * 2].timestamp,
			      fifo_data[(num_samples - 1) * 2].timestamp -
				      acc->collection_rate *
					      (num_samples - 1 - i));
		zassert_equal(fifo_data[i * 2 + 1].data[X], fake_sample[i * 3]);
		zassert_equal(fifo_data[i * 2 + 1].data[Y],
			      fake_sample[i * 3 + 1]);
		zassert_equal(fifo_data[i * 2 + 1].data[Z],
			      fake_sample[i * 3 + 2]);
	}
}

ZTEST_USER(lis2dh, test_lis2dh__samples_fifo_read_fail)
{
	struct stprivate_data *drvdata = acc->drv_data;
	int16_t fake_sample[] = { 10, 20, 30, 40, 50, 60 };
	uint32_t evt = ACCEL_LIS2DH_INT_EVENT;
	struct i2c_common_emul_data *common_data =
		emul_lis2dh_get_i2c_common_data(emul);
	int i;
	int rv;

	/* Basic initialization works. */
	zassert_ok(lis2dh_drv.init(acc));

	/* Clear out the soft motionsense FIFO */
	motion_sense_fifo_reset();

	/* Set data rate to 10Hz, without this the FIFO will never be enabled */
	acc->config[SENSOR_CONFIG_AP].odr = 10000;
	acc->drv->set_data_rate(acc, 10000, 1);
	acc->oversampling_ratio = 1;

	/* Verify fifo mode is enabled */
	zassert_true(lis2dh_emul_is_fifo_enabled(emul));

	/* Reading requires a range to be set. Use 1 so it has no effect
	 * when scaling samples. Also need to set the sensor resolution
	 * manually.
	 */
	lis2dh_drv.set_range(acc, 1, 0);
	drvdata->resol = LIS2DH_RESOLUTION;

	/*
	 * Samples from the lis2dh are left aligned so shift left by requiired
	 * amount.
	 */
	for (i = 0; i < ARRAY_SIZE(fake_sample); i++) {
		fake_sample[i] <<= (15 - LIS2DH_RESOLUTION);
	}
	/* Add data to the lis2dh emulated fifo */
	lis2dh_emul_set_fifo_data(emul, fake_sample, sizeof(fake_sample));

	/* Set incorrect interrupt event */
	evt = 0;
	/* Run interrupt handler */
	rv = lis2dh_drv.irq_handler(acc, &evt);
	zassert_equal(EC_ERROR_NOT_HANDLED, rv);

	/* Set FIFO_SRC_REG read to fail */
	i2c_common_emul_set_read_fail_reg(common_data, LIS2DH_FIFO_SRC_ADDR);
	evt = ACCEL_LIS2DH_INT_EVENT;
	rv = lis2dh_drv.irq_handler(acc, &evt);
	zassert_equal(EC_ERROR_INVAL, rv);
	i2c_common_emul_set_read_fail_reg(common_data,
					  I2C_COMMON_EMUL_NO_FAIL_REG);

	/* Set LIS2DH_OUT_X_L_ADDR read to fail */
	i2c_common_emul_set_read_fail_reg(common_data,
					  0x80 | LIS2DH_OUT_X_L_ADDR);
	rv = lis2dh_drv.irq_handler(acc, &evt);
	zassert_equal(EC_ERROR_INVAL, rv);
}

ZTEST_USER(lis2dh, test_lis2dh__samples_fifo_read_spoof)
{
	struct stprivate_data *drvdata = acc->drv_data;
	int16_t fake_sample[] = { 10, 20, 30, 40, 50, 60 };
	const intv3_t expected_spoof = { 50 << (15 - LIS2DH_RESOLUTION),
					 60 << (15 - LIS2DH_RESOLUTION),
					 70 << (15 - LIS2DH_RESOLUTION) };
	uint32_t evt = ACCEL_LIS2DH_INT_EVENT;
	static struct ec_response_motion_sensor_data
		fifo_data[ARRAY_SIZE(fake_sample) / 3 * 2];
	int count;
	uint16_t read_byte_count;
	int i;

	/* Basic initialization works. */
	zassert_ok(lis2dh_drv.init(acc));

	/* Clear out the soft motionsense FIFO */
	motion_sense_fifo_reset();

	/* Set data rate to 10Hz, without this the FIFO will never be enabled */
	acc->config[SENSOR_CONFIG_AP].odr = 10000;
	acc->drv->set_data_rate(acc, 10000, 1);
	acc->oversampling_ratio = 1;

	/* Verify fifo mode is enabled */
	zassert_true(lis2dh_emul_is_fifo_enabled(emul));

	/* Reading requires a range to be set. Use 1 so it has no effect
	 * when scaling samples. Also need to set the sensor resolution
	 * manually.
	 */
	lis2dh_drv.set_range(acc, 1, 0);
	drvdata->resol = LIS2DH_RESOLUTION;

	/* Enable spoof fifo spoof mode */
	acc->flags |= MOTIONSENSE_FLAG_IN_SPOOF_MODE;

	/* Set values to be spoofed */
	acc->spoof_xyz[X] = expected_spoof[X];
	acc->spoof_xyz[Y] = expected_spoof[Y];
	acc->spoof_xyz[Z] = expected_spoof[Z];

	/*
	 * Samples from the lis2dh are left aligned so shift left by requiired
	 * amount.
	 */
	for (i = 0; i < ARRAY_SIZE(fake_sample); i++) {
		fake_sample[i] <<= (15 - LIS2DH_RESOLUTION);
	}
	/* Add data to the lis2dh emulated fifo */
	lis2dh_emul_set_fifo_data(emul, fake_sample, sizeof(fake_sample));

	/* Run interrupt handler */
	zassert_ok(lis2dh_drv.irq_handler(acc, &evt));

	/* Read data has been queue up in the motion_sense fifo */
	count = motion_sense_fifo_read(sizeof(fifo_data),
				       ARRAY_SIZE(fake_sample) / 3 * 2,
				       fifo_data, &read_byte_count);

	/*
	 * Each accel sample is paired with a timestamp entry so there should be
	 * 2 entries for each 3 samples in the fake_sample array.
	 */
	zassert_equal(count, ARRAY_SIZE(fake_sample) / 3 * 2);

	/* Data from fifo should match spoof values */
	for (i = 0; i < ARRAY_SIZE(fake_sample) / 3; i++) {
		zassert_equal(fifo_data[i * 2 + 1].data[X], expected_spoof[X]);
		zassert_equal(fifo_data[i * 2 + 1].data[Y], expected_spoof[Y]);
		zassert_equal(fifo_data[i * 2 + 1].data[Z], expected_spoof[Z]);
	}

	/* raw_xyz still tracks the last sample read from the sensor */
	zassert_equal(acc->raw_xyz[X], fake_sample[3]);
	zassert_equal(acc->raw_xyz[Y], fake_sample[4]);
	zassert_equal(acc->raw_xyz[Z], fake_sample[5]);
}

ZTEST_USER(lis2dh, test_lis2dh__trigger_interrupt)
{
	struct stprivate_data *drvdata = acc->drv_data;
	int16_t fake_sample[] = { 10, 20, 30, 40, 50, 60 };
	int i;

	/* Basic initialization works. */
	zassert_ok(lis2dh_drv.init(acc));

	/* Clear out the soft motionsense FIFO */
	motion_sense_fifo_reset();

	/* Set data rate to 10Hz, without this the FIFO will never be enabled */
	acc->config[SENSOR_CONFIG_AP].odr = 10000;
	acc->drv->set_data_rate(acc, 10000, 1);
	acc->oversampling_ratio = 1;

	/* Verify fifo mode is enabled */
	zassert_true(lis2dh_emul_is_fifo_enabled(emul));

	/* Reading requires a range to be set. Use 1 so it has no effect
	 * when scaling samples. Also need to set the sensor resolution
	 * manually.
	 */
	lis2dh_drv.set_range(acc, 1, 0);
	drvdata->resol = LIS2DH_RESOLUTION;

	/* Interrupt should be inactive */
	zassert_equal(lis2dh_emul_get_interrupt_pin(emul), 0);

	/*
	 * Samples from the lis2dh are left aligned so shift left by requiired
	 * amount.
	 */
	for (i = 0; i < ARRAY_SIZE(fake_sample); i++) {
		fake_sample[i] <<= (15 - LIS2DH_RESOLUTION);
	}
	/* Add data to the lis2dh emulated fifo */
	lis2dh_emul_set_fifo_data(emul, fake_sample, sizeof(fake_sample));

	/* lis2dh fifo data should exceed watermark */
	zassert_equal(lis2dh_emul_get_interrupt_pin(emul), 1);
}

ZTEST(lis2dh, test_lis2dh_init__fail_interrupt_config)
{
	struct i2c_common_emul_data *common_data =
		emul_lis2dh_get_i2c_common_data(emul);
	int rv;

	i2c_common_emul_set_write_fail_reg(common_data, LIS2DH_FIFO_CTRL_ADDR);
	rv = lis2dh_drv.init(acc);
	zassert_equal(EC_ERROR_INVAL, rv);
}

ZTEST(lis2dh, test_lis2dh__set_range_fifo_fail)
{
	struct i2c_common_emul_data *common_data =
		emul_lis2dh_get_i2c_common_data(emul);
	int rv;

	zassert_ok(lis2dh_drv.init(acc));
	zassert_ok(lis2dh_drv.set_range(acc, 4, 0));

	/* Configure LIS2DH_FIFO_CTRL_ADDR write to fail */
	i2c_common_emul_set_write_fail_reg(common_data, LIS2DH_FIFO_CTRL_ADDR);
	rv = lis2dh_drv.set_range(acc, 2, 0);
	zassert_equal(rv, EC_ERROR_INVAL);
	zassert_equal(acc->current_range, 4);
}

#endif /* ACCEL_LIS2DH_INT_ENABLE */
```
